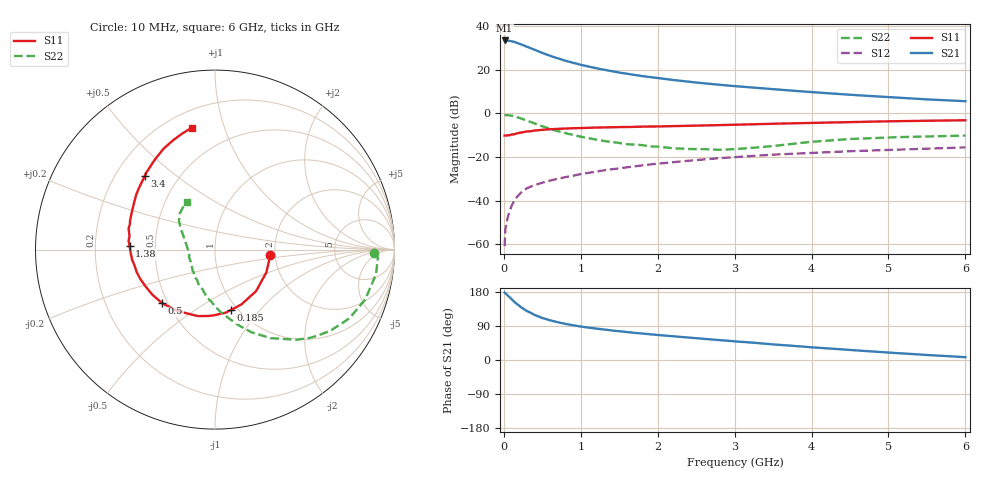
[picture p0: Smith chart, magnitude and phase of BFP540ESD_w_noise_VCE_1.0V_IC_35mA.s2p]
! Infineon Technologies  Discrete & RF Semiconductors
! BFP540ESD
! VCE =  1.0 V,  IC =  35 mA
! Common Emitter S-Parameters:  Nov 2015
# GHz  S  MA  R  50
!  f  S11  S21  S12  S22
! GHz  MAG  ANG  MAG  ANG  MAG  ANG  MAG  ANG
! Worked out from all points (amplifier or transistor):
!   210 points, 10 MHz to 6 GHz, reference 50 ohm
!   highest |S21| = 33.3 dB at 10 MHz (marker M1)
!   |S21| within 3 dB of that: start of sweep to 308.8 MHz
!   unconditionally stable (mu >= 1): start of sweep to 17.1 MHz; 1.533 GHz to end of sweep
!   at 185 MHz: K = 0.33, MSG = 34.9 dB, |S12| = -37.8 dB
!   at 1.52 GHz: K = 1.00, MSG = 21.8 dB, |S12| = -25.2 dB
!   at 6 GHz: K = 1.12, MAG = 8.5 dB, |S12| = -15.7 dB
!   lowest NFmin = 1.52 dB at 900 MHz
!   S11 on the Smith chart (normalised r, x): 10 MHz: 1.88, -0.11; 185 MHz: 0.93, -0.71; 500 MHz: 0.47, -0.34; 1.38 GHz: 0.35, +0.02; 3.4 GHz: 0.32, +0.39; 6 GHz: 0.30, +0.78
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0.01  0.3086 -5.1  46.5 178.1  0.0009 112.0  0.8873 -1.3
0.02  0.3076 -11.0  45.92 176.5  0.0022 91.5  0.9087 -2.7
0.05  0.3131 -23.9  46.18 170.1  0.0041 91.7  0.9075 -8.7
0.1  0.3256 -45.3  44.78 160.1  0.0075 80.8  0.8822 -18.3
0.15  0.339 -64.3  42.35 150.9  0.0108 75.8  0.8409 -27.1
0.185  0.3483 -75.5  40.23 145.3  0.0129 71.4  0.8015 -32.5
0.2  0.3561 -80.0  39.45 142.7  0.0138 69.9  0.787 -35.0
0.24  0.3658 -90.6  36.92 137.0  0.0161 68.4  0.7429 -40.4
0.3  0.3824 -104.4  33.42 129.1  0.0191 66.3  0.6782 -47.8
0.4  0.4022 -121.9  28.16 118.8  0.0226 63.1  0.5823 -57.9
0.5  0.4194 -134.7  24.04 110.8  0.0257 60.3  0.5024 -66.3
0.6  0.43 -144.3  20.66 104.7  0.0286 59.6  0.4394 -72.9
0.7  0.4381 -152.1  18.12 99.6  0.0314 59.4  0.3897 -78.8
0.82  0.4484 -159.7  15.61 94.5  0.0349 58.6  0.343 -85.7
1.02  0.4583 -169.7  12.63 87.8  0.0409 58.8  0.285 -95.4
1.38  0.4768 177.4  9.34 78.5  0.0514 57.4  0.2226 -112.3
2.02  0.5003 161.0  6.3 65.7  0.07 54.0  0.1701 -137.4
3.1  0.5504 138.9  4.045 47.8  0.1015 44.9  0.1548 176.4
3.4  0.5679 133.4  3.664 42.9  0.1097 41.7  0.1707 165.1
4.1  0.6082 122.3  2.964 32.2  0.1255 34.8  0.2282 147.3
5.1  0.6568 109.6  2.285 18.3  0.1462 25.1  0.2826 133.2
6  0.691 100.9  1.886 7.4  0.1649 17.8  0.3076 120.3
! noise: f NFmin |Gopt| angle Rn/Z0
0.9  1.52  0.41  -139  0.13
1.8  1.66  0.44  -142  0.13
2.4  1.7  0.44  -132  0.15
3  1.82  0.46  -125  0.19
4  1.87  0.55  -103  0.33
5  2.01  0.6  -88  0.51
6  2.34  0.59  -85  0.77
